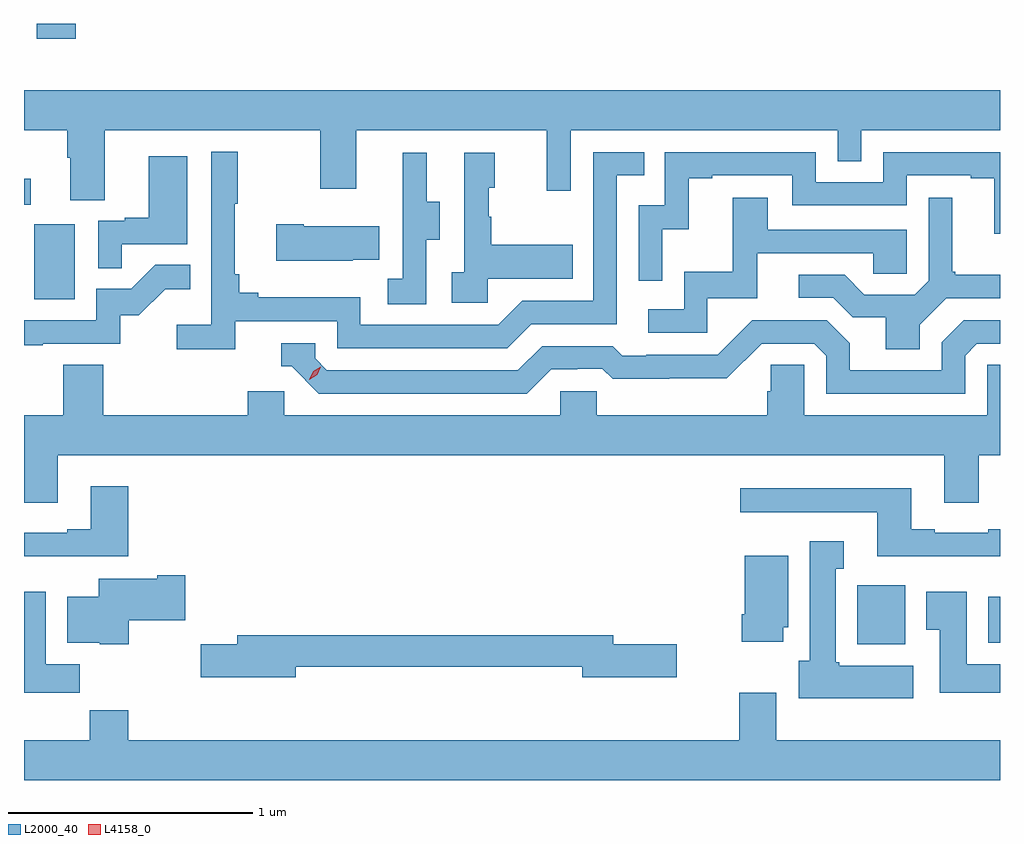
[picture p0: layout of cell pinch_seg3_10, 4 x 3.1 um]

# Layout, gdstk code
import gdstk
lib = gdstk.Library(unit=1e-6, precision=1e-09)
def R(c, l, rs):  # rectangles x0, y0, x1, y1
    for r in rs: c.add(gdstk.rectangle(r[:2], r[2:], *l))
def P(c, l, *ps):  # polygons
    for p in ps: c.add(gdstk.Polygon(p, *l))
L2000_40 = (2000, 40)
L4158_0 = (4158, 0)

pinch_seg3_10 = lib.new_cell('pinch_seg3_10')
R(pinch_seg3_10, L2000_40, [(1135.058,740.102,1135.255,740.344), (1135.595,740.108,1135.643,740.296), (1131.686,741.516,1131.85,741.823), (1131.643,741.903,1131.67,742.009), (1131.695,742.584,1131.856,742.645)])
P(pinch_seg3_10, L2000_40, [(1131.973,742.208),(1132.858,742.208),(1132.858,741.969),(1133.005,741.969),(1133.005,742.208),(1133.786,742.208),(1133.786,741.96),(1133.883,741.96),(1133.883,742.208),(1134.978,742.208),(1134.978,742.081),(1135.074,742.081),(1135.074,742.208),(1135.643,742.208),(1135.643,742.372),(1131.643,742.372),(1131.643,742.208),(1131.821,742.208),(1131.821,742.096),(1131.833,742.096),(1131.833,741.922),(1131.973,741.922)],
  [(1132.508,741.426),(1132.926,741.426),(1132.926,741.315),(1133.623,741.315),(1133.722,741.414),(1134.072,741.414),(1134.072,742.023),(1134.185,742.023),(1134.185,742.119),(1133.976,742.119),(1133.976,741.51),(1133.685,741.51),(1133.586,741.411),(1133.022,741.411),(1133.022,741.523),(1132.603,741.523),(1132.603,741.542),(1132.526,741.542),(1132.526,741.619),(1132.507,741.619),(1132.507,741.907),(1132.519,741.907),(1132.519,742.12),(1132.41,742.12),(1132.41,741.412),(1132.269,741.412),(1132.269,741.31),(1132.508,741.31)],
  [(1134.258,741.803),(1134.368,741.803),(1134.368,742.011),(1134.463,742.011),(1134.463,742.023),(1134.792,742.023),(1134.792,741.9),(1135.26,741.9),(1135.26,742.023),(1135.523,742.023),(1135.523,742.011),(1135.619,742.011),(1135.619,741.785),(1135.643,741.785),(1135.643,742.119),(1135.164,742.119),(1135.164,741.996),(1134.888,741.996),(1134.888,742.119),(1134.27,742.119),(1134.27,741.9),(1134.162,741.9),(1134.162,741.591),(1134.258,741.591)],
  [(1133.544,741.599),(1133.891,741.599),(1133.891,741.739),(1133.557,741.739),(1133.557,741.854),(1133.547,741.854),(1133.547,741.972),(1133.572,741.972),(1133.572,742.117),(1133.448,742.117),(1133.448,741.626),(1133.397,741.626),(1133.397,741.501),(1133.544,741.501)],
  [(1133.292,741.76),(1133.347,741.76),(1133.347,741.915),(1133.293,741.915),(1133.293,742.117),(1133.195,742.117),(1133.195,741.903),(1133.196,741.903),(1133.196,741.599),(1133.133,741.599),(1133.133,741.496),(1133.292,741.496)],
  [(1132.043,741.741),(1132.312,741.741),(1132.312,742.102),(1132.154,742.102),(1132.154,741.85),(1132.055,741.85),(1132.055,741.837),(1131.948,741.837),(1131.948,741.643),(1132.043,741.643)],
  [(1134.444,741.519),(1134.649,741.519),(1134.649,741.705),(1135.123,741.705),(1135.123,741.621),(1135.26,741.621),(1135.26,741.801),(1134.691,741.801),(1134.691,741.931),(1134.547,741.931),(1134.547,741.628),(1134.348,741.628),(1134.348,741.474),(1134.201,741.474),(1134.201,741.378),(1134.444,741.378)],
  [(1135.315,741.412),(1135.422,741.519),(1135.643,741.519),(1135.643,741.616),(1135.459,741.616),(1135.459,741.628),(1135.447,741.628),(1135.447,741.931),(1135.35,741.931),(1135.35,741.591),(1135.293,741.534),(1135.087,741.534),(1135.006,741.615),(1134.819,741.615),(1134.819,741.522),(1134.96,741.522),(1135.04,741.442),(1135.175,741.442),(1135.175,741.31),(1135.315,741.31)],
  [(1132.991,741.677),(1133.099,741.677),(1133.099,741.814),(1132.789,741.814),(1132.789,741.822),(1132.677,741.822),(1132.677,741.674),(1132.991,741.674)],
  [(1131.719,741.333),(1132.038,741.333),(1132.038,741.45),(1132.114,741.45),(1132.221,741.557),(1132.325,741.557),(1132.325,741.656),(1132.181,741.656),(1132.083,741.558),(1131.939,741.558),(1131.939,741.429),(1131.643,741.429),(1131.643,741.328),(1131.719,741.328)],
  [(1133.803,741.228),(1133.91,741.228),(1133.91,741.231),(1134.013,741.231),(1134.055,741.189),(1134.288,741.189),(1134.288,741.191),(1134.524,741.191),(1134.666,741.333),(1134.882,741.333),(1134.93,741.285),(1134.93,741.129),(1135.5,741.129),(1135.5,741.285),(1135.548,741.333),(1135.643,741.333),(1135.643,741.429),(1135.494,741.429),(1135.404,741.339),(1135.404,741.225),(1135.027,741.225),(1135.027,741.335),(1134.933,741.429),(1134.627,741.429),(1134.486,741.288),(1134.193,741.288),(1134.193,741.285),(1134.094,741.285),(1134.055,741.324),(1133.766,741.324),(1133.667,741.225),(1132.884,741.225),(1132.836,741.273),(1132.836,741.336),(1132.697,741.336),(1132.697,741.24),(1132.74,741.24),(1132.851,741.129),(1133.704,741.129)],
  [(1131.781,740.876),(1135.415,740.876),(1135.415,740.682),(1135.555,740.682),(1135.555,740.876),(1135.643,740.876),(1135.643,741.248),(1135.59,741.248),(1135.59,741.04),(1134.84,741.04),(1134.84,741.248),(1134.703,741.248),(1134.703,741.138),(1134.689,741.138),(1134.689,741.04),(1133.991,741.04),(1133.991,741.138),(1133.841,741.138),(1133.841,741.04),(1132.71,741.04),(1132.71,741.138),(1132.559,741.138),(1132.559,741.04),(1131.968,741.04),(1131.968,741.248),(1131.803,741.248),(1131.803,741.04),(1131.643,741.04),(1131.643,740.682),(1131.781,740.682)],
  [(1132.07,740.749),(1131.917,740.749),(1131.917,740.572),(1131.821,740.572),(1131.821,740.559),(1131.643,740.559),(1131.643,740.462),(1132.07,740.462)],
  [(1135.643,740.572),(1135.595,740.572),(1135.595,740.559),(1135.375,740.559),(1135.375,740.572),(1135.279,740.572),(1135.279,740.74),(1134.579,740.74),(1134.579,740.643),(1135.139,740.643),(1135.139,740.462),(1135.643,740.462)],
  [(1135.288,740.014),(1134.984,740.014),(1134.984,740.028),(1134.97,740.028),(1134.97,740.411),(1135.003,740.411),(1135.003,740.524),(1134.863,740.524),(1134.863,740.034),(1134.818,740.034),(1134.818,739.88),(1135.288,739.88)],
  [(1134.754,740.172),(1134.775,740.172),(1134.775,740.464),(1134.596,740.464),(1134.596,740.224),(1134.584,740.224),(1134.584,740.112),(1134.754,740.112)],
  [(1132.072,740.201),(1132.303,740.201),(1132.303,740.384),(1132.19,740.384),(1132.19,740.371),(1131.95,740.371),(1131.95,740.296),(1131.821,740.296),(1131.821,740.108),(1131.954,740.108),(1131.954,740.102),(1132.072,740.102)],
  [(1135.643,740.02),(1135.507,740.02),(1135.507,740.317),(1135.34,740.317),(1135.34,740.161),(1135.397,740.161),(1135.397,739.902),(1135.643,739.902)],
  [(1131.872,740.02),(1131.733,740.02),(1131.733,740.317),(1131.643,740.317),(1131.643,739.902),(1131.872,739.902)],
  [(1132.756,740.01),(1133.93,740.01),(1133.93,739.967),(1134.319,739.967),(1134.319,740.102),(1134.058,740.102),(1134.058,740.138),(1132.517,740.138),(1132.517,740.102),(1132.368,740.102),(1132.368,739.967),(1132.756,739.967)],
  [(1135.643,739.708),(1134.727,739.708),(1134.727,739.903),(1134.575,739.903),(1134.575,739.708),(1132.07,739.708),(1132.07,739.832),(1131.913,739.832),(1131.913,739.708),(1131.643,739.708),(1131.643,739.544),(1135.643,739.544)])
P(pinch_seg3_10, L4158_0, [(1132.813,741.186),(1132.813,741.187),(1132.829,741.22),(1132.86,741.239),(1132.86,741.239),(1132.86,741.239),(1132.844,741.206),(1132.813,741.186)])

lib.write_gds('pinch_seg3_10.gds')
